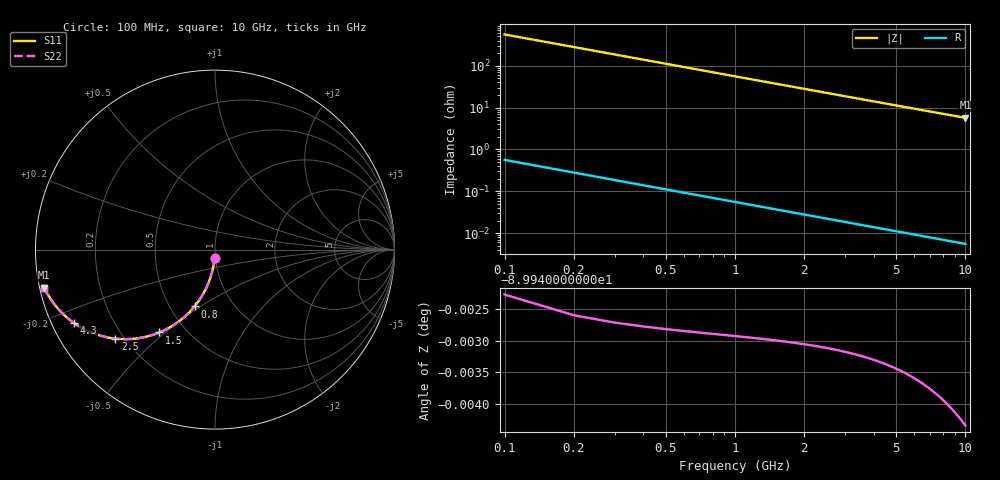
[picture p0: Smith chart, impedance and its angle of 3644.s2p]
# Hz S RI R 50.00
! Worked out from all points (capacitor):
!   100 points, 100 MHz to 10 GHz, reference 50 ohm
!   read as one part in shunt: C = 2.85 pF near 100 MHz
!   lowest |Z| = 5.69 ohm at 10 GHz (marker M1)
!   S11 on the Smith chart (normalised r, x): 100 MHz: 0.99, -0.09; 800 MHz: 0.66, -0.47; 1.5 GHz: 0.36, -0.48; 2.5 GHz: 0.17, -0.37; 4.3 GHz: 0.06, -0.24; 10 GHz: 0.01, -0.11
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1e8  -0.00204 -0.0447  0.9979 -0.0447  0.9979 -0.0447  -0.00204 -0.0447
2e8  -0.00804 -0.0888  0.9919 -0.0889  0.9919 -0.0889  -0.00804 -0.0888
3e8  -0.0179 -0.1319  0.9821 -0.132  0.9821 -0.132  -0.0179 -0.1319
4e8  -0.0312 -0.1734  0.9687 -0.1736  0.9687 -0.1736  -0.0312 -0.1734
5e8  -0.0479 -0.213  0.9521 -0.2132  0.9521 -0.2132  -0.0479 -0.213
6e8  -0.0675 -0.2503  0.9325 -0.2506  0.9325 -0.2506  -0.0675 -0.2503
8e8  -0.1139 -0.317  0.8861 -0.3174  0.8861 -0.3174  -0.1139 -0.317
9e8  -0.1398 -0.3461  0.8602 -0.3465  0.8602 -0.3465  -0.1398 -0.3461
1.1e9  -0.1952 -0.3956  0.8048 -0.3961  0.8048 -0.3961  -0.1952 -0.3956
1.3e9  -0.2528 -0.4338  0.7471 -0.4345  0.7471 -0.4345  -0.2528 -0.4338
1.5e9  -0.3104 -0.4618  0.6896 -0.4625  0.6896 -0.4625  -0.3104 -0.4618
1.8e9  -0.3929 -0.4875  0.6071 -0.4883  0.6071 -0.4883  -0.3929 -0.4875
2.1e9  -0.468 -0.498  0.532 -0.499  0.532 -0.499  -0.468 -0.498
2.5e9  -0.5545 -0.4959  0.4455 -0.4971  0.4455 -0.4971  -0.5545 -0.4959
2.9e9  -0.6258 -0.4827  0.3742 -0.4841  0.3742 -0.4841  -0.6258 -0.4827
3.4e9  -0.6964 -0.4585  0.3035 -0.4601  0.3035 -0.4601  -0.6964 -0.4585
4.3e9  -0.7853 -0.409  0.2146 -0.4111  0.2146 -0.4111  -0.7853 -0.409
5.1e9  -0.837 -0.3676  0.163 -0.3701  0.163 -0.3701  -0.837 -0.3676
5.8e9  -0.869 -0.3355  0.131 -0.3384  0.131 -0.3384  -0.869 -0.3355
6.7e9  -0.8983 -0.3001  0.1017 -0.3034  0.1017 -0.3034  -0.8983 -0.3001
8.4e9  -0.9327 -0.248  0.0673 -0.2521  0.0673 -0.2521  -0.9327 -0.248
1e10  -0.9515 -0.2118  0.0485 -0.2168  0.0485 -0.2168  -0.9515 -0.2118
